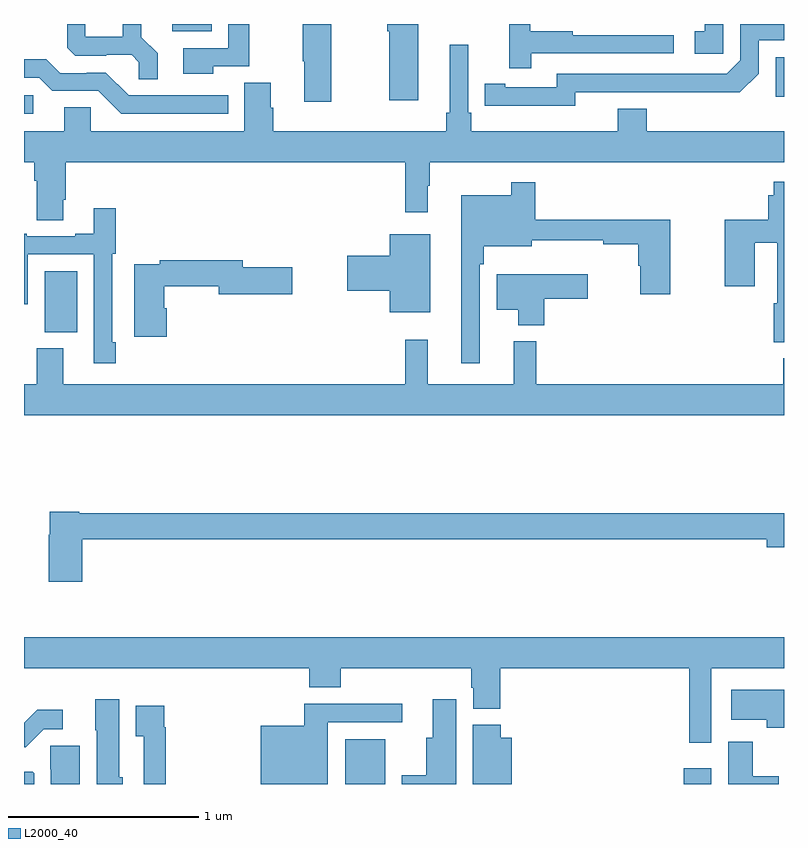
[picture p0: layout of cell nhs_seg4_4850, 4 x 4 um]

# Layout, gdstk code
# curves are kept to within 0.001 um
import gdstk
lib = gdstk.Library(unit=1e-6, precision=1e-09)
def R(c, l, rs):  # rectangles x0, y0, x1, y1
    for r in rs: c.add(gdstk.rectangle(r[:2], r[2:], *l))
def P(c, l, *ps):  # polygons
    for p in ps: c.add(gdstk.Polygon(p, *l))
L2000_40 = (2000, 40)

nhs_seg4_4850 = lib.new_cell('nhs_seg4_4850')
R(nhs_seg4_4850, L2000_40, [(374.69,774.9,374.902,775.135), (376.472,774.9,376.618,774.982), (373.109,777.278,373.279,777.598), (373,778.428,373.048,778.524), (376.956,778.518,377,778.725), (373.781,778.862,373.987,778.9)])
P(nhs_seg4_4850, L2000_40, [(375.671,778.746),(376.42,778.746),(376.42,778.842),(375.887,778.842),(375.887,778.862),(375.664,778.862),(375.664,778.9),(375.554,778.9),(375.554,778.668),(375.671,778.668)],
  [(373.703,778.745),(373.617,778.831),(373.617,778.9),(373.52,778.9),(373.52,778.834),(373.322,778.834),(373.322,778.9),(373.228,778.9),(373.228,778.775),(373.269,778.734),(373.434,778.734),(373.434,778.737),(373.568,778.737),(373.605,778.7),(373.605,778.609),(373.703,778.609)],
  [(376.68,778.9),(376.583,778.9),(376.583,778.863),(376.53,778.863),(376.53,778.743),(376.68,778.743)],
  [(375.9,778.542),(376.768,778.541),(376.866,778.638),(376.866,778.815),(377,778.815),(377,778.9),(376.77,778.9),(376.77,778.71),(376.698,778.638),(375.804,778.638),(375.804,778.566),(375.532,778.566),(375.532,778.586),(375.424,778.586),(375.424,778.47),(375.9,778.469)],
  [(373.995,778.677),(374.185,778.677),(374.185,778.9),(374.076,778.9),(374.076,778.773),(373.839,778.773),(373.839,778.637),(373.995,778.637)],
  [(374.616,778.9),(374.467,778.9),(374.467,778.703),(374.474,778.703),(374.474,778.491),(374.616,778.491)],
  [(375.076,778.9),(374.912,778.9),(374.912,778.863),(374.923,778.863),(374.923,778.5),(375.076,778.5)],
  [(377,778.336),(376.277,778.336),(376.277,778.453),(376.124,778.453),(376.124,778.336),(375.353,778.336),(375.353,778.432),(375.339,778.432),(375.339,778.792),(375.242,778.792),(375.242,778.432),(375.223,778.432),(375.223,778.336),(374.312,778.336),(374.312,778.458),(374.299,778.458),(374.299,778.592),(374.159,778.592),(374.159,778.336),(373.35,778.336),(373.35,778.463),(373.211,778.463),(373.211,778.336),(373,778.336),(373,778.172),(373.055,778.172),(373.055,778.076),(373.067,778.076),(373.067,777.868),(373.207,777.868),(373.207,777.976),(373.22,777.976),(373.22,778.172),(375.007,778.172),(375.007,777.909),(375.124,777.909),(375.124,778.049),(375.136,778.049),(375.136,778.172),(377,778.172)],
  [(374.074,778.524),(373.551,778.524),(373.431,778.644),(373.33,778.644),(373.33,778.641),(373.191,778.641),(373.118,778.714),(373,778.714),(373,778.617),(373.08,778.617),(373.149,778.548),(373.392,778.548),(373.512,778.428),(374.074,778.428)],
  [(377,778.069),(376.945,778.069),(376.945,778),(376.916,778),(376.916,777.871),(376.688,777.871),(376.688,777.519),(376.846,777.519),(376.846,777.749),(376.965,777.749),(376.965,777.431),(376.945,777.431),(376.945,777.225),(377,777.225)],
  [(375.399,777.635),(375.419,777.635),(375.419,777.731),(375.673,777.731),(375.673,777.761),(376.048,777.761),(376.048,777.742),(376.232,777.742),(376.232,777.627),(376.244,777.627),(376.244,777.477),(376.402,777.477),(376.402,777.871),(375.692,777.871),(375.692,778.066),(375.564,778.066),(375.564,778),(375.302,778),(375.302,777.114),(375.399,777.114)],
  [(373.484,777.226),(373.464,777.226),(373.464,777.69),(373.484,777.69),(373.484,777.931),(373.367,777.931),(373.367,777.796),(373.271,777.796),(373.271,777.783),(373.015,777.783),(373.015,777.796),(373,777.796),(373,777.426),(373.021,777.426),(373.021,777.687),(373.368,777.687),(373.368,777.114),(373.484,777.114)],
  [(375.139,777.793),(374.924,777.793),(374.924,777.68),(374.7,777.68),(374.7,777.497),(374.924,777.497),(374.924,777.383),(375.139,777.383)],
  [(373.751,777.405),(373.738,777.405),(373.738,777.52),(374.024,777.52),(374.024,777.478),(374.413,777.478),(374.413,777.62),(374.152,777.62),(374.152,777.656),(373.714,777.656),(373.714,777.636),(373.58,777.636),(373.58,777.255),(373.751,777.255)],
  [(375.737,777.454),(375.967,777.454),(375.967,777.583),(375.488,777.583),(375.488,777.395),(375.602,777.395),(375.602,777.314),(375.737,777.314)],
  [(377,777.14),(376.997,777.14),(376.997,777.004),(375.695,777.004),(375.695,777.229),(375.578,777.229),(375.578,777.004),(375.125,777.004),(375.125,777.238),(375.007,777.238),(375.007,777.004),(373.207,777.004),(373.207,777.193),(373.067,777.193),(373.067,777.004),(373,777.004),(373,776.84),(377,776.84)],
  [(373.307,776.188),(376.91,776.188),(376.91,776.146),(377,776.146),(377,776.324),(373.29,776.324),(373.29,776.332),(373.136,776.332),(373.136,776.213),(373.129,776.213),(373.129,775.965),(373.307,775.965)],
  [(376.617,775.508),(377,775.508),(377,775.672),(373,775.672),(373,775.508),(374.501,775.508),(374.501,775.409),(374.666,775.409),(374.666,775.508),(375.353,775.508),(375.353,775.407),(375.365,775.407),(375.365,775.297),(375.506,775.297),(375.506,775.508),(376.501,775.508),(376.501,775.116),(376.617,775.116)],
  [(377,775.396),(376.722,775.396),(376.722,775.238),(376.91,775.238),(376.91,775.196),(377,775.196)],
  [(375.274,775.345),(375.152,775.345),(375.152,775.144),(375.116,775.144),(375.116,774.946),(374.987,774.946),(374.987,774.9),(375.274,774.9)],
  [(373.519,774.936),(373.501,774.936),(373.501,775.345),(373.376,775.345),(373.376,775.182),(373.382,775.182),(373.382,774.9),(373.519,774.9)],
  [(374.599,775.224),(374.992,775.224),(374.992,775.322),(374.474,775.322),(374.474,775.207),(374.246,775.207),(374.246,774.9),(374.599,774.9)],
  [(373.745,775.199),(373.738,775.199),(373.738,775.312),(373.589,775.312),(373.589,775.151),(373.629,775.151),(373.629,774.9),(373.745,774.9)],
  [(373.104,775.188),(373.204,775.188),(373.204,775.291),(373.069,775.291),(373,775.222),(373,775.094),(373.009,775.094)],
  [(375.568,775.144),(375.509,775.144),(375.509,775.212),(375.362,775.212),(375.362,774.9),(375.568,774.9)],
  [(376.972,774.94),(376.836,774.94),(376.836,775.123),(376.706,775.123),(376.706,774.9),(376.972,774.9)],
  [(373.294,775.101),(373.138,775.101),(373.138,774.978),(373.142,774.978),(373.142,774.9),(373.294,774.9)],
  [(373.054,774.956),(373.046,774.964),(373,774.964),(373,774.9),(373.054,774.9)])

lib.write_gds('nhs_seg4_4850.gds')
